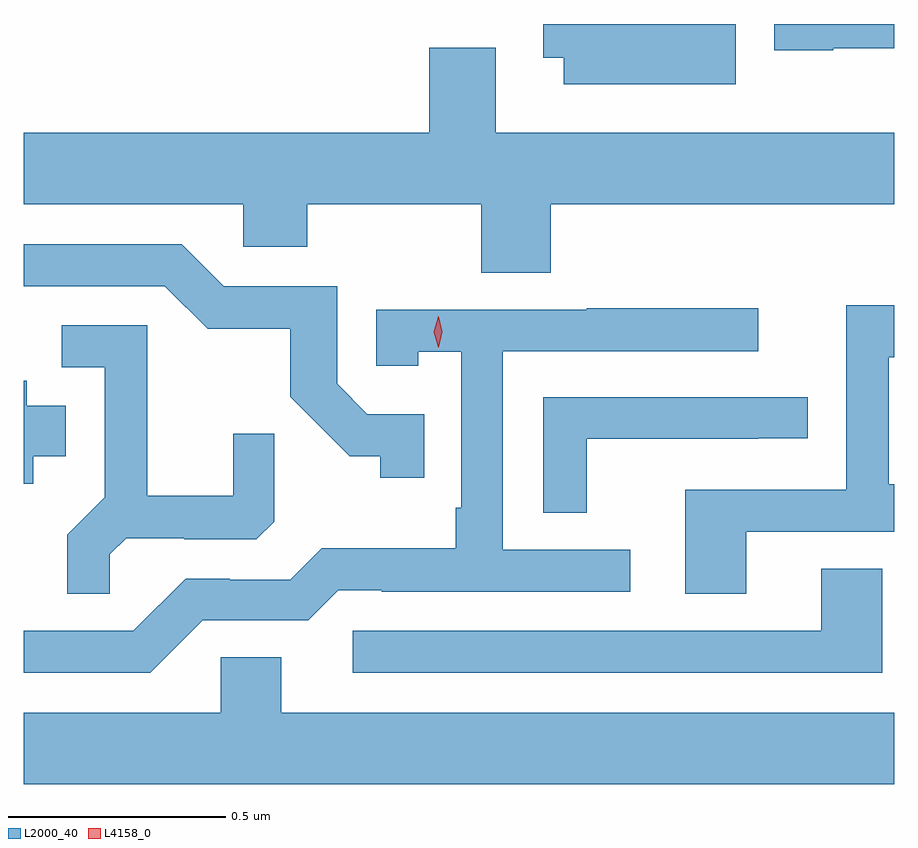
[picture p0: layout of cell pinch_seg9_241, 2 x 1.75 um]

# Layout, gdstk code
import gdstk
lib = gdstk.Library(unit=1e-6, precision=1e-09)
def P(c, l, *ps):  # polygons
    for p in ps: c.add(gdstk.Polygon(p, *l))
L2000_40 = (2000, 40)
L4158_0 = (4158, 0)

pinch_seg9_241 = lib.new_cell('pinch_seg9_241')
P(pinch_seg9_241, L2000_40, [(434.869,1222.142),(434.426,1222.142),(434.426,1222.064),(434.474,1222.064),(434.474,1222.004),(434.869,1222.004)],
  [(435.093,1222.086),(435.233,1222.086),(435.233,1222.142),(434.957,1222.142),(434.957,1222.082),(435.093,1222.082)],
  [(434.444,1221.728),(435.233,1221.728),(435.233,1221.892),(434.317,1221.892),(434.317,1222.087),(434.165,1222.087),(434.165,1221.892),(433.233,1221.892),(433.233,1221.728),(433.737,1221.728),(433.737,1221.63),(433.884,1221.63),(433.884,1221.728),(434.284,1221.728),(434.284,1221.571),(434.444,1221.571)],
  [(434.153,1221.246),(434.022,1221.246),(433.953,1221.315),(433.953,1221.54),(433.692,1221.54),(433.596,1221.636),(433.233,1221.636),(433.233,1221.54),(433.557,1221.54),(433.656,1221.442),(433.845,1221.442),(433.845,1221.286),(433.982,1221.149),(434.052,1221.149),(434.052,1221.099),(434.153,1221.099)],
  [(434.893,1220.976),(435.233,1220.976),(435.233,1221.085),(435.22,1221.085),(435.22,1221.376),(435.233,1221.376),(435.233,1221.496),(435.123,1221.496),(435.123,1221.072),(434.753,1221.072),(434.753,1220.833),(434.893,1220.833)],
  [(433.644,1220.772),(433.887,1220.772),(433.956,1220.841),(434.056,1220.841),(434.056,1220.838),(434.626,1220.838),(434.626,1220.934),(434.334,1220.934),(434.334,1221.39),(434.92,1221.39),(434.92,1221.489),(434.527,1221.489),(434.527,1221.486),(434.043,1221.486),(434.043,1221.357),(434.139,1221.357),(434.139,1221.389),(434.238,1221.389),(434.238,1221.031),(434.226,1221.031),(434.226,1220.938),(433.918,1220.938),(433.845,1220.865),(433.706,1220.865),(433.706,1220.868),(433.605,1220.868),(433.485,1220.748),(433.233,1220.748),(433.233,1220.652),(433.524,1220.652)],
  [(433.431,1220.924),(433.468,1220.961),(433.602,1220.961),(433.602,1220.958),(433.767,1220.958),(433.808,1220.999),(433.808,1221.201),(433.714,1221.201),(433.714,1221.058),(433.517,1221.058),(433.517,1221.45),(433.32,1221.45),(433.32,1221.354),(433.419,1221.354),(433.419,1221.055),(433.333,1220.969),(433.333,1220.833),(433.431,1220.833)],
  [(433.255,1221.149),(433.33,1221.149),(433.33,1221.265),(433.24,1221.265),(433.24,1221.322),(433.233,1221.322),(433.233,1221.086),(433.255,1221.086)],
  [(434.526,1221.189),(434.921,1221.189),(434.921,1221.19),(435.034,1221.19),(435.034,1221.285),(434.427,1221.285),(434.427,1221.019),(434.526,1221.019)],
  [(435.205,1220.891),(435.065,1220.891),(435.065,1220.748),(433.989,1220.748),(433.989,1220.652),(435.205,1220.652)],
  [(435.233,1220.56),(433.825,1220.56),(433.825,1220.687),(433.686,1220.687),(433.686,1220.56),(433.233,1220.56),(433.233,1220.396),(435.233,1220.396)])
P(pinch_seg9_241, L4158_0, [(434.185,1221.399),(434.185,1221.399),(434.175,1221.435),(434.185,1221.47),(434.185,1221.471),(434.186,1221.47),(434.195,1221.435),(434.186,1221.399)])

lib.write_gds('pinch_seg9_241.gds')
